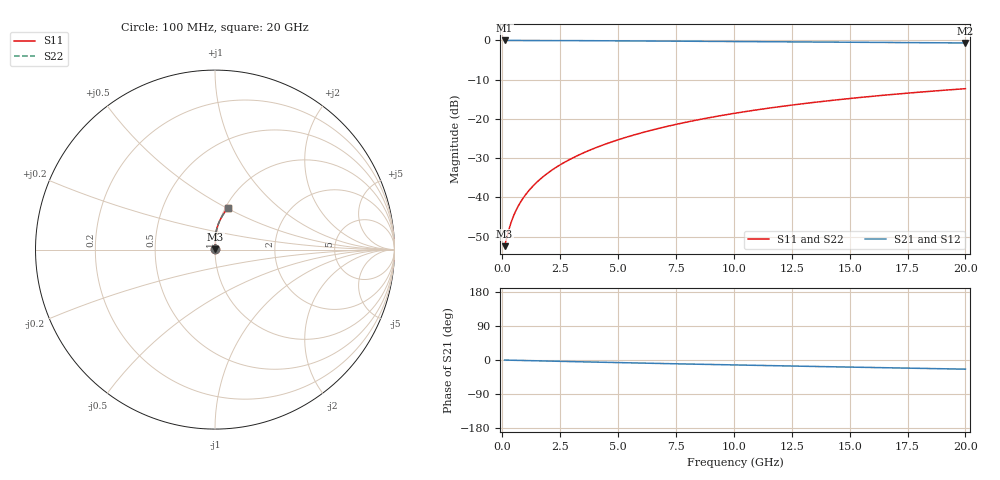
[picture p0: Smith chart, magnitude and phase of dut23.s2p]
! Touchstone file exported from HFSS 2024.1.0
!  File:  C:/UserFiles/LocalFiles/RDL_TSV_Batchsim/temp_RDL_top_23_1778680264.aedt
!  Generated:  09:53:30 PM May 13, 2026
!  Design:  RDL_top
!  Project:  temp_RDL_top_23_1778680264
!  Setup:  Setup1
!  Solution:  Sweep
! Variables:
!  dtsv = 10.80580581um
!  hbump = 3um
!  htsv = 93.98um
!  ldown = 100um
!  lrdl = 308.51um
!  p = 40
!  p1 = 52.46um
!  rhole = 1um
!  t = 450um
!  tdown = 3.915915916um
!  trdl = 2.46um
!  wdown = 15.38538539um
!  wrdl = 25.39um
# GHz S MA R 50.000000
! Terminal data exported
! Port[1] = Box2_T1
! Port[2] = Box2_T2
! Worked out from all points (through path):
!   200 points, 100 MHz to 20 GHz, reference 50 ohm
!   highest |S21| = -0.02 dB at 100 MHz (marker M1); lowest = -0.7 dB at 20 GHz (marker M2)
!   group delay of S21, straight-line fit = 3.33 ps
!   lowest |S11| = -52.4 dB at 100 MHz (marker M3), VSWR 1.00, Z = 50.2 + j0.115 ohm
!   |S11| at or under -10 dB: start of sweep to end of sweep
!   |S22| runs from -52.4 to -12.3 dB; largest |S21 - S12| = 2.6e-15
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0.1  0.002386 28.6  0.9979 -0.1  0.9979 -0.1  0.002386 28.6
! Gamma 0 0 0 0
! Port Impedance 50 0 50 0
0.3  0.004027 56.3  0.9977 -0.4  0.9977 -0.4  0.004027 56.3
0.4  0.004975 62.3  0.9976 -0.6  0.9976 -0.6  0.004975 62.3
0.5  0.005933 66.3  0.9975 -0.7  0.9975 -0.7  0.005933 66.3
0.6  0.006891 69.2  0.9973 -0.9  0.9973 -0.9  0.006891 69.2
0.8  0.00881 73.4  0.9971 -1.2  0.9971 -1.2  0.00881 73.4
1.1  0.01172 77.5  0.9967 -1.6  0.9967 -1.6  0.01172 77.5
1.3  0.01368 79.4  0.9965 -1.9  0.9965 -1.9  0.01368 79.4
1.6  0.01668 81.6  0.996 -2.3  0.996 -2.3  0.01668 81.6
2.1  0.02178 84.0  0.9952 -3.0  0.9952 -3.0  0.02178 84.0
2.7  0.02808 85.9  0.9939 -3.8  0.9939 -3.8  0.02809 85.9
3.5  0.03681 87.3  0.9918 -4.9  0.9918 -4.9  0.03681 87.3
4.2  0.04473 88.0  0.9897 -5.8  0.9897 -5.8  0.04473 88.0
5  0.05409 88.4  0.987 -6.9  0.987 -6.9  0.0541 88.4
5.9  0.06498 88.3  0.9837 -8.0  0.9837 -8.0  0.06498 88.3
6.8  0.07617 87.9  0.9803 -9.2  0.9803 -9.2  0.07617 87.9
8.4  0.09658 86.7  0.974 -11.1  0.974 -11.1  0.09658 86.7
10.1  0.1186 84.9  0.9673 -13.1  0.9673 -13.1  0.1186 84.9
11.7  0.1394 83.0  0.9609 -15.0  0.9609 -15.0  0.1395 83.0
13.4  0.1614 80.9  0.9541 -16.9  0.9541 -16.9  0.1614 80.9
16.7  0.2029 76.7  0.9409 -20.6  0.9409 -20.6  0.2029 76.7
20  0.2425 72.5  0.9275 -24.2  0.9275 -24.2  0.2425 72.5
